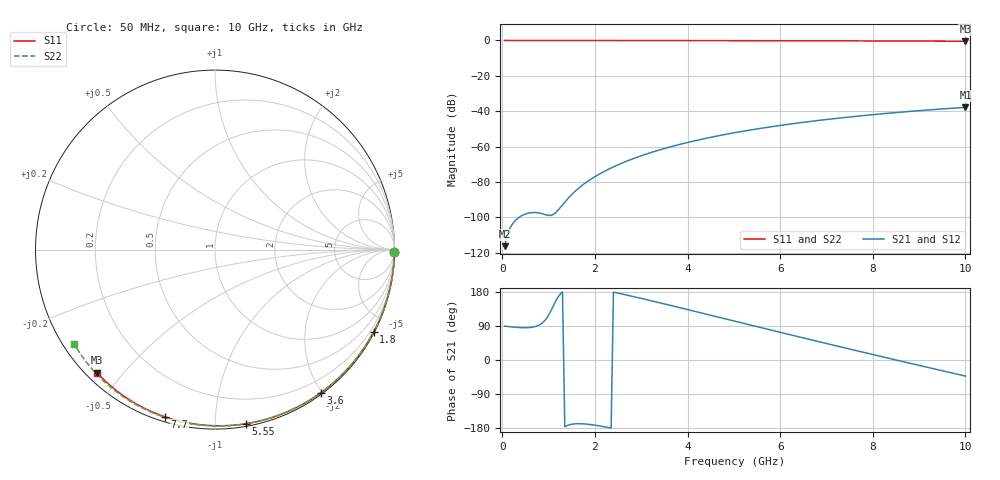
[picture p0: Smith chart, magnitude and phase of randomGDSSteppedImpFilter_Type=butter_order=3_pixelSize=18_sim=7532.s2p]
! freq	dB(S11)	phase(S11)	dB(S12)	phase(S12)
!  dB(S21)	phase(S21)	dB(S22)	phase(S22)
!S-par simulation data
#  GHz  S  DB  R 50
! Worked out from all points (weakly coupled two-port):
!   200 points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, 50 MHz to 10 GHz, reference 50 ohm
!   highest |S21| = -37.85 dB at 10 GHz (marker M1); lowest = -116.4 dB at 50 MHz (marker M2)
!   lowest |S11| = -0.4 dB at 10 GHz (marker M3), VSWR 38.63, Z = 1.53 - j21.3 ohm
!   |S11| at or under -10 dB: nowhere
!   |S22| runs from -0.5 to 0.0 dB; largest |S21 - S12| = 0
!   S11 on the Smith chart (normalised r, x): 50 MHz: open; 1.8 GHz: 0.04, -4.11; 3.6 GHz: 0.02, -1.98; 5.55 GHz: 0.02, -1.19; 7.7 GHz: 0.02, -0.74; 10 GHz: 0.03, -0.43
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0.05  -0.00 -0.8  -116.37 89.3  -116.37 89.3  -0.00 -0.9
0.45  -0.01 -6.9  -98.72 85.2  -98.72 85.2  -0.01 -7.7
0.9  -0.02 -13.8  -98.30 101.7  -98.30 101.7  -0.02 -15.2
1.3  -0.02 -19.9  -92.96 179.6  -92.96 179.6  -0.03 -21.9
1.75  -0.03 -26.6  -81.45 -168.5  -81.45 -168.5  -0.04 -29.3
1.8  -0.03 -27.4  -80.49 -168.9  -80.49 -168.9  -0.04 -30.1
1.85  -0.04 -28.1  -79.57 -169.6  -79.57 -169.6  -0.04 -31.0
2.05  -0.04 -31.1  -76.26 -173.0  -76.26 -173.0  -0.04 -34.2
2.2  -0.04 -33.3  -74.09 -176.2  -74.09 -176.2  -0.05 -36.6
2.55  -0.05 -38.4  -69.75 175.1  -69.75 175.1  -0.05 -42.3
2.95  -0.06 -44.2  -65.68 164.0  -65.68 164.0  -0.06 -48.6
3.4  -0.07 -50.7  -61.88 151.0  -61.88 151.0  -0.07 -55.7
3.6  -0.07 -53.5  -60.39 145.1  -60.39 145.1  -0.08 -58.8
4.3  -0.09 -63.2  -55.91 124.1  -55.91 124.1  -0.10 -69.3
5.05  -0.11 -73.3  -52.03 101.5  -52.03 101.5  -0.12 -80.3
5.55  -0.13 -79.9  -49.83 86.5  -49.83 86.5  -0.14 -87.5
6.1  -0.15 -87.0  -47.69 70.1  -47.69 70.1  -0.17 -95.1
6.7  -0.18 -94.5  -45.64 52.3  -45.64 52.3  -0.20 -103.3
7.7  -0.24 -106.7  -42.74 23.1  -42.74 23.1  -0.27 -116.6
8.35  -0.29 -114.5  -41.14 4.4  -41.14 4.4  -0.32 -125.1
9.2  -0.37 -124.5  -39.31 -19.9  -39.31 -19.9  -0.40 -136.0
10  -0.45 -133.8  -37.85 -42.4  -37.85 -42.4  -0.49 -146.3
